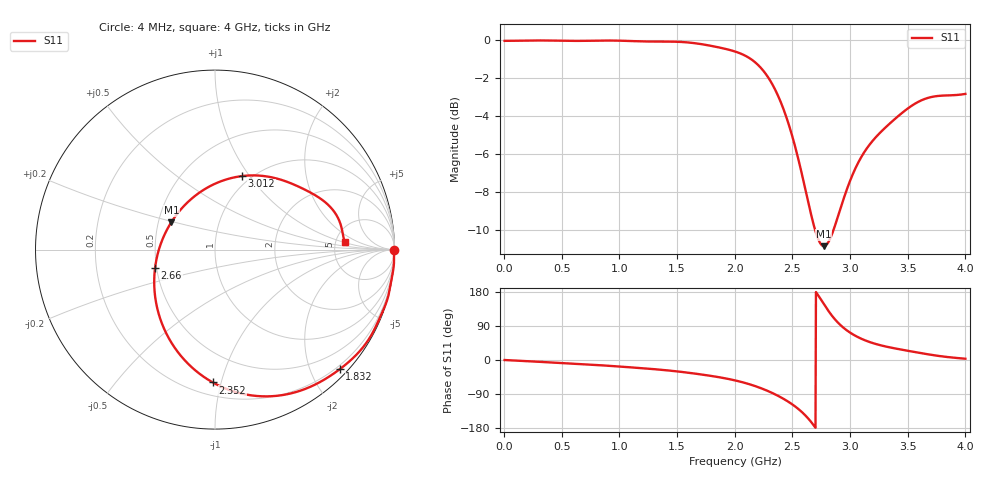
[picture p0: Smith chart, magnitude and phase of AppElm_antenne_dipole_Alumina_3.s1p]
! TOUCHSTONE file generated by CST MICROWAVE STUDIO
! Date and time: Sat May 14 11:42:12 2022
! Project name: AppElm_antenne_dipole_Alumina.cst
! Parameters = {L=28.05; e=0.035; f=2.45e+09; h=1.6; i=0.8; l1=2; lambda=122.449; ls=30; wl=1.7; ws=80}
! Header version: 2018
! Port assignment regex: !\s*Touchstone port\s*([0-9]+)\s*=\s*(CST MWS port|CST DS port)\s*([0-9]+|Zmin|Zmax)\s*\(\"(.*)\"\)(\s*mode\s*([0-9]+))?.*
! Touchstone port assignment:
! Touchstone port 1 = CST MWS port 1 ("")
# GHz S MA R 50
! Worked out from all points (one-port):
!   1000 points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, 4 MHz to 4 GHz, reference 50 ohm
!   lowest |S11| = -10.8 dB at 2.772 GHz (marker M1), VSWR 1.81, Z = 29.2 + j9.73 ohm
!   |S11| at or under -10 dB: 2.698 GHz to 2.855 GHz (157.6 MHz wide, 5.68 % of centre)
!   S11 on the Smith chart (normalised r, x): 4 MHz: open; 1.832 GHz: 0.14, -2.48; 2.352 GHz: 0.29, -0.94; 2.66 GHz: 0.49, -0.12; 3.012 GHz: 0.91, +0.92; 4 GHz: 6.03, +1.07
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0.004  0.9976 -0.1
0.504  0.9982 -8.1
1.004  0.9987 -17.3
1.504  0.9919 -30.2
1.668  0.9822 -36.4
1.832  0.9629 -43.8
2.004  0.9348 -53.9
2.104  0.9073 -61.8
2.204  0.8608 -71.8
2.28  0.8073 -80.9
2.352  0.7402 -91.0
2.424  0.6577 -102.7
2.504  0.5522 -118.2
2.584  0.4422 -137.9
2.66  0.35 -162.7
2.72  0.3017 172.2
2.772  0.2873 147.9
2.82  0.2976 126.2
2.888  0.3389 100.8
2.944  0.3829 84.8
3.004  0.4301 71.5
3.012  0.4361 69.9
3.108  0.4995 54.7
3.208  0.5496 43.6
3.328  0.5981 34.3
3.504  0.6632 24.1
3.712  0.7104 13.2
4  0.7232 3.4
